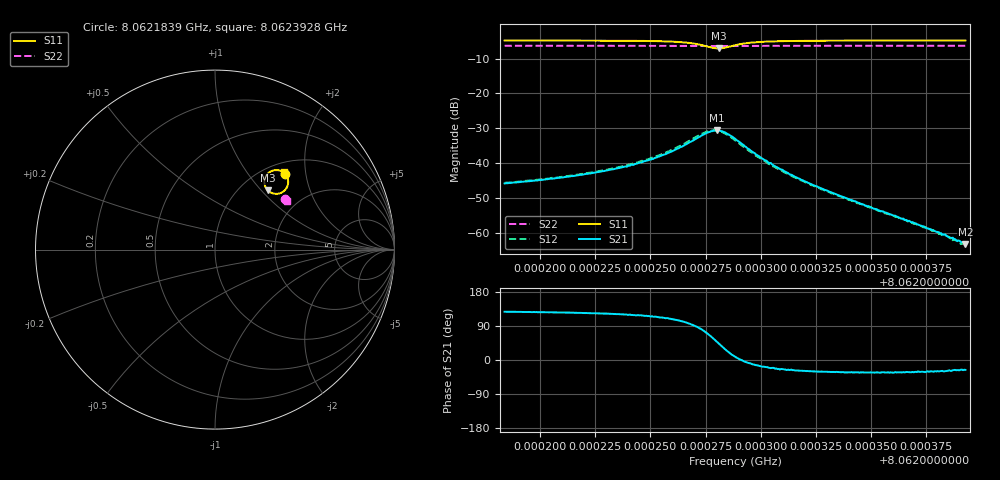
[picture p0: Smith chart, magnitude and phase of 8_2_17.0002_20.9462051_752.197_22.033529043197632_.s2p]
#  HZ  S  RI  R  50.00
! Rohde & Schwarz Vector Network Analyzer
! Rohde-Schwarz,ZNB20-2Port,1311601062101988,3.16
! Created: UTC 3/20/2024, 10:52:22 PM
! freq[Hz]  re:S11  im:S11  re:S21  im:S21  re:S12  im:S12  re:S22  im:S22
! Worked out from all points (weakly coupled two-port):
!   401 points, 8.0621839 GHz to 8.0623928 GHz, reference 50 ohm
!   highest |S21| = -30.61 dB at 8.06228 GHz (marker M1); lowest = -63.1 dB at 8.0623928 GHz (marker M2)
!   lowest |S11| = -7.1 dB at 8.062281 GHz (marker M3), VSWR 2.59, Z = 66.4 + j54.4 ohm
!   |S11| at or under -10 dB: nowhere
!   |S22| runs from -6.4 to -6.3 dB; largest |S21 - S12| = 0.0051
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8.06218392e9  0.3901 0.4222  -0.00312 0.00409  -0.00287 0.00437  0.3924 0.2804
8.0622001e9  0.3929 0.4191  -0.00338 0.00465  -0.00317 0.00494  0.3931 0.2795
8.0622189e9  0.3965 0.4139  -0.00383 0.00565  -0.0036 0.00606  0.3936 0.2783
8.06223979e9  0.4024 0.403  -0.00445 0.008  -0.00414 0.00853  0.3943 0.2767
8.06225389e9  0.4071 0.3867  -0.00483 0.0115  -0.00407 0.0124  0.3948 0.2754
8.06226067e9  0.4077 0.3718  -0.00442 0.0146  -0.00334 0.0159  0.3946 0.2744
8.06227007e9  0.3932 0.3355  -9.22e-05 0.0219  0.00271 0.0232  0.3936 0.2725
8.06227634e9  0.3475 0.3109  0.0105 0.0258  0.0152 0.0247  0.3912 0.2721
8.06228e9  0.3054 0.3211  0.0195 0.0221  0.0229 0.0185  0.3898 0.2736
8.06228104e9  0.2949 0.3296  0.0214 0.0199  0.0243 0.016  0.3898 0.274
8.06228417e9  0.2765 0.363  0.0243 0.0122  0.025 0.00795  0.3899 0.2757
8.06228835e9  0.2809 0.404  0.0223 0.00346  0.0213 0.000612  0.391 0.2768
8.06229462e9  0.3067 0.4333  0.0158 -0.00226  0.0148 -0.0035  0.3927 0.2772
8.06230454e9  0.3362 0.4429  0.0094 -0.00369  0.00866 -0.00409  0.3943 0.2765
8.06231394e9  0.3513 0.4424  0.00618 -0.00294  0.0057 -0.00333  0.3952 0.2758
8.06232334e9  0.3601 0.4405  0.00429 -0.00246  0.00402 -0.00265  0.3957 0.2753
8.06233796e9  0.3685 0.4374  0.00272 -0.00176  0.00258 -0.00181  0.3966 0.2742
8.06235832e9  0.3754 0.4341  0.00157 -0.00103  0.00149 -0.00111  0.3974 0.2729
8.06237712e9  0.3795 0.4317  0.000981 -0.000554  0.000929 -0.000628  0.3981 0.272
8.06238182e9  0.3802 0.4312  0.000867 -0.000485  0.000801 -0.000514  0.3982 0.2718
8.06238391e9  0.3805 0.4309  0.000816 -0.000458  0.000783 -0.000477  0.3983 0.2716
8.06239278e9  0.3818 0.4299  0.000627 -0.000307  0.000567 -0.000314  0.3985 0.2712
